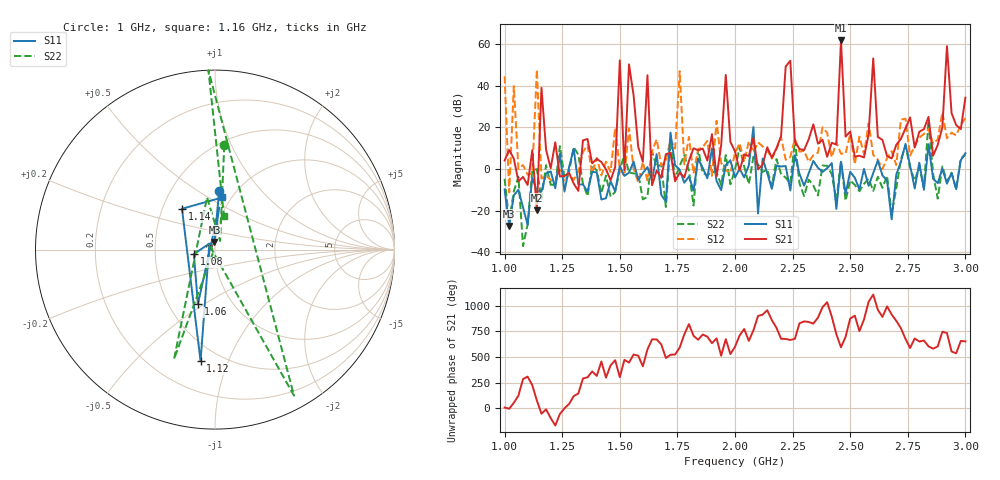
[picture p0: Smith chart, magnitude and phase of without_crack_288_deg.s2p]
# MHz S MA R 50
!  freq  S11  S21  S12  S22
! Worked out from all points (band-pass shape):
!   101 points, 1 GHz to 3 GHz, reference 50 ohm
!   highest |S21| = 61.75 dB at 2.46 GHz (marker M1); lowest = -19.8 dB at 1.14 GHz (marker M2)
!   |S21| within 3 dB of the highest: 2.4588 GHz to 2.4613 GHz (2.5 MHz wide, 0.102 % of centre); 2.919865 GHz to 2.920165 GHz (300.1 kHz wide, 0.0103 % of centre)
!   lowest |S11| = -27.3 dB at 1.02 GHz (marker M3), VSWR 1.09, Z = 49.5 + j4.27 ohm
!   |S11| at or under -10 dB: 1 GHz to 1.06 GHz (59.27 MHz wide, 5.75 % of centre); 1.06 GHz to 1.115 GHz (54.65 MHz wide, 5.03 % of centre); 1.138 GHz to 1.162 GHz (23.55 MHz wide, 2.05 % of centre) (the widest 3 of 15)
!   |S22| runs from -37.0 to 23.3 dB; largest |S21 - S12| = 1.2e+03
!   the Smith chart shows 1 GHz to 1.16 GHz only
!   S11 on the Smith chart (normalised r, x): 1 GHz: 0.84, +0.62; 1.06 GHz: 0.70, -0.47; 1.08 GHz: 0.79, -0.04; 1.12 GHz: 0.39, -0.80; 1.14 GHz: 0.63, +0.31; 1.16 GHz: 0.91, +0.58
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1000  0.3272 86.0  1.608 7.1  168.7 96.0  0.5851 84.9
1020  0.04315 94.0  2.87 -4.2  0.2773 -173.8  0.05579 59.2
1060  0.3181 -107.4  0.5115 123.6  1.01 -78.6  0.6515 -110.5
1080  0.1204 -168.0  0.6502 -75.3  1.255 -59.7  0.01416 -129.5
1120  0.6256 -97.4  2.85 -134.0  0.8042 24.8  0.9251 -61.6
1140  0.2927 128.9  0.1025 75.8  244.8 -45.3  0.9997 92.1
1160  0.2937 81.9  89.49 -52.6  0.5964 1.1  0.1916 74.7
1340  0.4319 110.5  4.904 -69.9  2.573 -0.1  0.4506 101.8
1500  1.192 -81.8  406 -57.2  1.022 4.6  0.9599 -54.1
1540  0.821 -71.5  326.4 84.8  9.634 -103.3  0.8315 -76.2
1680  0.2409 118.3  0.6196 -98.3  1.229 -100.1  1.292 55.5
2000  0.6309 64.3  2.673 -121.6  2.382 113.3  0.967 74.8
2340  1.58 75.4  11.91 104.3  2.164 -149.8  0.403 97.4
2440  0.1106 -79.5  3.877 1.1  4.443 110.9  0.1759 -105.4
2460  1.509 123.6  1223 -126.1  2.343 96.0  1.592 92.7
2480  0.2534 -123.4  6.016 -24.5  2.376 -159.7  0.1747 -138.9
2600  0.8007 87.1  454.5 27.2  2.197 157.4  0.2998 47.6
2680  0.06231 -36.1  1.802 -167.0  2.706 150.7  0.08422 -28.4
2900  1.035 55.1  9.982 25.0  22.95 4.5  1.162 56.4
2920  0.4481 -27.9  892.8 12.7  5.49 -37.5  0.5041 -33.1
2940  0.8074 3.7  22.11 -167.1  7.509 12.4  0.8213 1.8
3000  2.412 -63.0  51.95 -68.7  16.67 -57.2  2.188 -56.0
